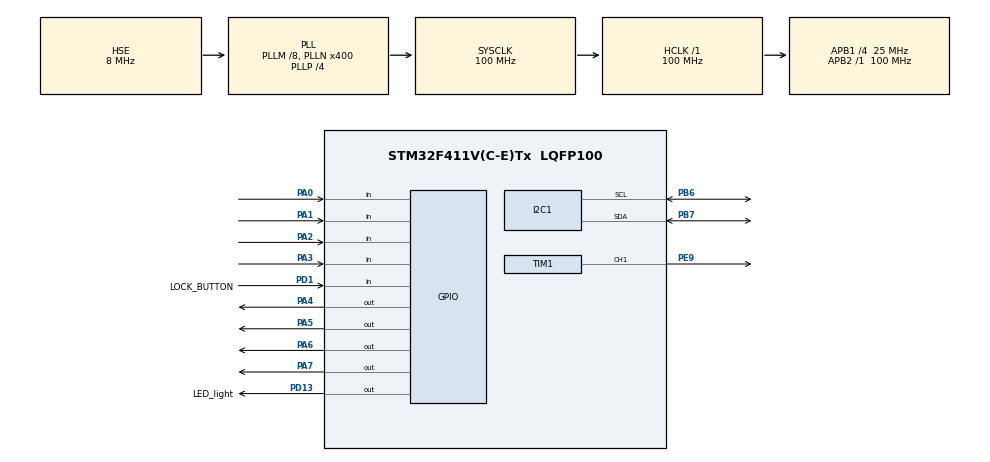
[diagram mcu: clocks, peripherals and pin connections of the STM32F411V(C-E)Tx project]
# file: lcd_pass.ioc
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Mcu.Family=STM32F4
Mcu.Name=STM32F411V(C-E)Tx
Mcu.Package=LQFP100
NVIC.PriorityGroup=NVIC_PRIORITYGROUP_4
NVIC.TIM1_UP_TIM10_IRQn=true\:0\:0\:false\:false\:true\:true\:true\:true
PA0-WKUP.GPIO_PuPd=GPIO_PULLUP
PA0-WKUP.Signal=GPIO_Input
PA1.GPIO_PuPd=GPIO_PULLUP
PA1.Signal=GPIO_Input
PA13.Mode=Serial_Wire
PA13.Signal=SYS_JTMS-SWDIO
PA14.Mode=Serial_Wire
PA14.Signal=SYS_JTCK-SWCLK
PA2.GPIO_PuPd=GPIO_PULLUP
PA2.Signal=GPIO_Input
PA3.GPIO_PuPd=GPIO_PULLUP
PA3.Signal=GPIO_Input
PA4.GPIO_Speed=GPIO_SPEED_FREQ_HIGH
PA4.Signal=GPIO_Output
PA5.GPIO_Speed=GPIO_SPEED_FREQ_HIGH
PA5.Signal=GPIO_Output
PA6.GPIO_Speed=GPIO_SPEED_FREQ_HIGH
PA6.Signal=GPIO_Output
PA7.GPIO_Speed=GPIO_SPEED_FREQ_HIGH
PA7.Signal=GPIO_Output
PB6.Mode=I2C
PB6.Signal=I2C1_SCL
PB7.Mode=I2C
PB7.Signal=I2C1_SDA
PD1.GPIO_Label=LOCK_BUTTON
PD1.GPIO_PuPd=GPIO_PULLDOWN
PD1.Signal=GPIO_Input
PD13.GPIO_Label=LED_light
PD13.GPIO_Speed=GPIO_SPEED_FREQ_HIGH
PD13.Signal=GPIO_Output
PE9.Signal=S_TIM1_CH1
PH0\ -\ OSC_IN.Mode=HSE-External-Oscillator
PH0\ -\ OSC_IN.Signal=RCC_OSC_IN
PH1\ -\ OSC_OUT.Mode=HSE-External-Oscillator
PH1\ -\ OSC_OUT.Signal=RCC_OSC_OUT
ProjectManager.HeapSize=0x200
ProjectManager.StackSize=0x400
ProjectManager.TargetToolchain=MDK-ARM V5.27
RCC.48MHZClocksFreq_Value=100000000
RCC.AHBFreq_Value=100000000
RCC.APB1CLKDivider=RCC_HCLK_DIV4
RCC.APB1Freq_Value=25000000
RCC.APB1TimFreq_Value=50000000
RCC.APB2Freq_Value=100000000
RCC.APB2TimFreq_Value=100000000
RCC.CortexFreq_Value=100000000
RCC.HCLKFreq_Value=100000000
RCC.HSE_VALUE=8000000
RCC.HSI_VALUE=16000000
RCC.LSE_VALUE=32768
RCC.PLLM=8
RCC.PLLN=400
RCC.PLLP=RCC_PLLP_DIV4
RCC.PLLSourceVirtual=RCC_PLLSOURCE_HSE
RCC.SYSCLKFreq_VALUE=100000000
RCC.SYSCLKSource=RCC_SYSCLKSOURCE_PLLCLK
RCC.VCOOutputFreq_Value=400000000
SH.S_TIM1_CH1.0=TIM1_CH1,PWM Generation1 CH1
TIM1.Channel-PWM\ Generation1\ CH1=TIM_CHANNEL_1
TIM1.Period=1000
TIM1.Prescaler=1000
TIM10.Period=9999
TIM10.Prescaler=10000
VP_TIM10_VS_ClockSourceINT.Mode=Enable_Timer
VP_TIM1_VS_ClockSourceINT.Mode=Internal
board=custom

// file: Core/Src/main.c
/* USER CODE BEGIN Header */
/**
  ******************************************************************************
  * @file           : main.c
  * @brief          : Main program body
  ******************************************************************************
  * @attention
  *
  * Copyright (c) 2022 STMicroelectronics.
  * All rights reserved.
  *
  * This software is licensed under terms that can be found in the LICENSE file
  * in the root directory of this software component.
  * If no LICENSE file comes with this software, it is provided AS-IS.
  *
  ******************************************************************************
  */
/* USER CODE END Header */
#include "main.h"

/* USER CODE BEGIN PD */
#define R1_PORT GPIOA
#define R1_PIN GPIO_PIN_7

#define R2_PORT GPIOA
#define R2_PIN GPIO_PIN_6

#define R3_PORT GPIOA
#define R3_PIN GPIO_PIN_5

#define R4_PORT GPIOA
#define R4_PIN GPIO_PIN_4

#define C1_PORT GPIOA
#define C1_PIN GPIO_PIN_3

#define C2_PORT GPIOA
#define C2_PIN GPIO_PIN_2

#define C3_PORT GPIOA
#define C3_PIN GPIO_PIN_1

#define C4_PORT GPIOA
#define C4_PIN GPIO_PIN_0

/* USER CODE END PD */

I2C_HandleTypeDef hi2c1;

TIM_HandleTypeDef htim1;
TIM_HandleTypeDef htim10;

void SystemClock_Config(void);
static void MX_GPIO_Init(void);
static void MX_I2C1_Init(void);
static void MX_TIM1_Init(void);
static void MX_TIM10_Init(void);

/* USER CODE BEGIN 0 */
uint8_t key[16] = ""; //contains 16 character 	//temp array
uint8_t user_pass [16] = "";

int wrongpass_count = 0;
char default_pass[16] = ""; //do linh kien ban phim co van de nen doi mat khau mac dinh sang 012378#, mat khau mac dinh doi lai sau khi thay ban phim 012345678#

void delay_ms(long int time);
void delay_1ms(void);
char read_keypad(void);
void password_enter(uint8_t *arr, int count);
void keypad_password(void);

char read_keypad (void)
{

	/* Make ROW 1 LOW and all other ROWs HIGH */
	HAL_GPIO_WritePin (R1_PORT, R1_PIN, GPIO_PIN_RESET);  //Pull the R1 low
	HAL_GPIO_WritePin (R2_PORT, R2_PIN, GPIO_PIN_SET);  // Pull the R2 High
	HAL_GPIO_WritePin (R3_PORT, R3_PIN, GPIO_PIN_SET);  // Pull the R3 High
	HAL_GPIO_WritePin (R4_PORT, R4_PIN, GPIO_PIN_SET);  // Pull the R4 High

	if (!(HAL_GPIO_ReadPin (C1_PORT, C1_PIN)))   // if the Col 1 is low
	{
		while (!(HAL_GPIO_ReadPin (C1_PORT, C1_PIN)));   // wait till the button is pressed
		return '1';
	}

	if (!(HAL_GPIO_ReadPin (C2_PORT, C2_PIN)))   // if the Col 2 is low
	{
		while (!(HAL_GPIO_ReadPin (C2_PORT, C2_PIN)));   // wait till the button is pressed
		return '2';
	}

	if (!(HAL_GPIO_ReadPin (C3_PORT, C3_PIN)))   // if the Col 3 is low
	{
		while (!(HAL_GPIO_ReadPin (C3_PORT, C3_PIN)));   // wait till the button is pressed
		return '3';
	}

	if (!(HAL_GPIO_ReadPin (C4_PORT, C4_PIN)))   // if the Col 4 is low
	{
		while (!(HAL_GPIO_ReadPin (C4_PORT, C4_PIN)));   // wait till the button is pressed
		return 'A';
	}

	/* Make ROW 2 LOW and all other ROWs HIGH */
	HAL_GPIO_WritePin (R1_PORT, R1_PIN, GPIO_PIN_SET);  //Pull the R1 High
	HAL_GPIO_WritePin (R2_PORT, R2_PIN, GPIO_PIN_RESET);  // Pull the R2 Low
	HAL_GPIO_WritePin (R3_PORT, R3_PIN, GPIO_PIN_SET);  // Pull the R3 High
	HAL_GPIO_WritePin (R4_PORT, R4_PIN, GPIO_PIN_SET);  // Pull the R4 High

	if (!(HAL_GPIO_ReadPin (C1_PORT, C1_PIN)))   // if the Col 1 is low
	{
		while (!(HAL_GPIO_ReadPin (C1_PORT, C1_PIN)));   // wait till the button is pressed
		return '4';
	}

	if (!(HAL_GPIO_ReadPin (C2_PORT, C2_PIN)))   // if the Col 2 is low
	{
		while (!(HAL_GPIO_ReadPin (C2_PORT, C2_PIN)));   // wait till the button is pressed
		return '5';
	}

	if (!(HAL_GPIO_ReadPin (C3_PORT, C3_PIN)))   // if the Col 3 is low
	{
		while (!(HAL_GPIO_ReadPin (C3_PORT, C3_PIN)));   // wait till the button is pressed
		return '6';
	}

	if (!(HAL_GPIO_ReadPin (C4_PORT, C4_PIN)))   // if the Col 4 is low
	{
		while (!(HAL_GPIO_ReadPin (C4_PORT, C4_PIN)));   // wait till the button is pressed
		return 'B';
	}

	/* Make ROW 3 LOW and all other ROWs HIGH */
	HAL_GPIO_WritePin (R1_PORT, R1_PIN, GPIO_PIN_SET);  //Pull the R1 High
	HAL_GPIO_WritePin (R2_PORT, R2_PIN, GPIO_PIN_SET);  // Pull the R2 High
	HAL_GPIO_WritePin (R3_PORT, R3_PIN, GPIO_PIN_RESET);  // Pull the R3 Low
	HAL_GPIO_WritePin (R4_PORT, R4_PIN, GPIO_PIN_SET);  // Pull the R4 High

	if (!(HAL_GPIO_ReadPin (C1_PORT, C1_PIN)))   // if the Col 1 is low
	{
		while (!(HAL_GPIO_ReadPin (C1_PORT, C1_PIN)));   // wait till the button is pressed
		return '7';
	}

	if (!(HAL_GPIO_ReadPin (C2_PORT, C2_PIN)))   // if the Col 2 is low
	{
		while (!(HAL_GPIO_ReadPin (C2_PORT, C2_PIN)));   // wait till the button is pressed
		return '8';
	}

	if (!(HAL_GPIO_ReadPin (C3_PORT, C3_PIN)))   // if the Col 3 is low
	{
		while (!(HAL_GPIO_ReadPin (C3_PORT, C3_PIN)));   // wait till the button is pressed
		return '9';
	}

	if (!(HAL_GPIO_ReadPin (C4_PORT, C4_PIN)))   // if the Col 4 is low
	{
		while (!(HAL_GPIO_ReadPin (C4_PORT, C4_PIN)));   // wait till the button is pressed
		return 'C';
	}

	/* Make ROW 4 LOW and all other ROWs HIGH */
	HAL_GPIO_WritePin (R1_PORT, R1_PIN, GPIO_PIN_SET);  //Pull the R1 High
	HAL_GPIO_WritePin (R2_PORT, R2_PIN, GPIO_PIN_SET);  // Pull the R2 High
	HAL_GPIO_WritePin (R3_PORT, R3_PIN, GPIO_PIN_SET);  // Pull the R3 Low
	HAL_GPIO_WritePin (R4_PORT, R4_PIN, GPIO_PIN_RESET);  // Pull the R4 High

	if (!(HAL_GPIO_ReadPin (C1_PORT, C1_PIN)))   // if the Col 1 is low
	{
		while (!(HAL_GPIO_ReadPin (C1_PORT, C1_PIN)));   // wait till the button is pressed
		return '*';
	}

	if (!(HAL_GPIO_ReadPin (C2_PORT, C2_PIN)))   // if the Col 2 is low
	{
		while (!(HAL_GPIO_ReadPin (C2_PORT, C2_PIN)));   // wait till the button is pressed
		return '0';
	}

	if (!(HAL_GPIO_ReadPin (C3_PORT, C3_PIN)))   // if the Col 3 is low
	{
		while (!(HAL_GPIO_ReadPin (C3_PORT, C3_PIN)));   // wait till the button is pressed
		return '#';
	}

	if (!(HAL_GPIO_ReadPin (C4_PORT, C4_PIN)))   // if the Col 4 is low
	{
		while (!(HAL_GPIO_ReadPin (C4_PORT, C4_PIN)));   // wait till the button is pressed
		return 'D';
	}
}

void password_enter(uint8_t *arr,int count)
{
			int i = 0;
			//key[i] la mang giup de xac thuc mat khau luon
			while(i<count)
			{
				key[i] = read_keypad();

				if(key[i]=='#')
				{
					break;
				}

				if(key[i] != 0x01)
				{
					lcd_put_cur(1,i);
					lcd_send_data(key[i]);
					++i;
				}
				HAL_Delay(100);
		}
}

void keypad_password(void)
{
		lcd_clear();
				lcd_put_cur(0,0);
				lcd_send_string("ENTER PASSWORD: ");

				password_enter(key,16);

				memcpy(user_pass,key,sizeof(key));

				memset(key,0,sizeof(key));

				if(strncmp((const char*)user_pass,(const char*)default_pass,16)==0)
				{
					//dung mat khau thi minh se mo den bang chan PD13
					//dong thoi hien thi -- UNLOCKED -- roi giu cho den khi nao nut bam duoc cai dat muc dich de kich tin hieu khoa cua thi
					//tat den roi khoa cua roi quay ve man hinh che do mac dinh
					lcd_clear();
					lcd_put_cur(0,4);
					lcd_send_string("CORRECT!");
					lcd_put_cur(1,0);
					lcd_send_string("--- UNLOCKED ---");
					wrongpass_count = 0;
					//open door
					htim1.Instance->CCR1 = 75; //quay 180 do

					//turn on LED
					HAL_GPIO_WritePin(GPIOD, GPIO_PIN_13,GPIO_PIN_SET);

					while(1)
					{
						//do xong roi no cu chay xu ly trong vong lap nay mai thoi
						//cho den khi nhan thay tin hieu tu nut bam thi tat den khoa cua roi break vong lap out ra ngoai vo man hinh mac dinh
						if(HAL_GPIO_ReadPin(GPIOD, GPIO_PIN_1) == GPIO_PIN_SET)
						{
							//tat den
							HAL_GPIO_WritePin(GPIOD, GPIO_PIN_13,GPIO_PIN_RESET);
							//doi 3s roi khoa cua lai
							//delay_ms(3000);

							//close door
							htim1.Instance->CCR1 = 175; //quay 180 do

							lcd_clear();
							lcd_put_cur(0,2);
							lcd_send_string("GOOD BYE ^-^");
							lcd_put_cur(1,1);
							lcd_send_string("SEE YOU AGAIN");

							HAL_Delay(1200);
							break;
						}
						else
						{
							//do nothing, just wait
						}
					}
				} else //truong hop nhap sai mk
				{

					++wrongpass_count;
					lcd_clear();
					lcd_put_cur(0,1);
					lcd_send_string("ACCESS DENIED!");
					lcd_put_cur(1,0);
					lcd_send_string("PLEASE TRY AGAIN");

					if(wrongpass_count == 5)
					{
						HAL_Delay(1000);
						lcd_clear();
						lcd_put_cur(0,0);
						lcd_send_string("NHAP SAI > 5 LAN");
						lcd_put_cur(1,0);
						lcd_send_string("WAIT FOR 3 MINS");

						//actually we make 3 mins to simulate
						delay_ms(180000);
						wrongpass_count = 0;
					}
				}
}
/* USER CODE END 0 */

int main(void)
{

  /* MCU Configuration--------------------------------------------------------*/

  /* Reset of all peripherals, Initializes the Flash interface and the Systick. */
  HAL_Init();

  /* Configure the system clock */
  SystemClock_Config();

  /* Initialize all configured peripherals */
  MX_GPIO_Init();
  MX_I2C1_Init();
  MX_TIM1_Init();
  MX_TIM10_Init();
  /* USER CODE BEGIN 2 */

	HAL_TIM_Base_Start_IT(&htim10);
	HAL_TIM_PWM_Start(&htim1, TIM_CHANNEL_1);

		lcd_clear();
		lcd_put_cur(0,0);
		lcd_send_string("WELCOME TO UIT");
		lcd_put_cur(1,2);
		lcd_send_string("CE FACULTY ^-^");
		HAL_Delay(2000);

		lcd_clear();
		lcd_put_cur(0,0);
		lcd_send_string("CAI MATKHAU: ");

		lcd_put_cur(1,0);
			//can mot vong lap loop neu nhu nhap sai mat khau mac dinh thi loop ke tu luc moi khoi dong
			//neu nhu cho lau qua ma khong xac nhan doi mat khau thi comeback man hinh luc ban dau
		memset(key,0,sizeof(key));

		password_enter(key,16);

			//done nhap mat khau duoc cai vo mang mat khau mac dinh de luu tru

		memcpy(default_pass,key,sizeof(key));

		memset(key,0, sizeof(key)); //clear key temp pass array

	 /* USER CODE END WHILE */
			//Mo ta dac tinh chuc nang o khoa thong minh

		//CHE DO:
		//*: PASSWORD
		//**: RFID
		//***: DOI MK
		//MINH SE LAM MOT CAI BAN TUTORIAL NHO NHO CODE WEB GIOI THIEU CHO NGUOI DUNG CHANG HAN XD host tren github

			/*=lcd_clear();
			lcd_put_cur(0,1);
			lcd_send_string("***WELCOME***");

			lcd_put_cur(1,0);
			lcd_send_string("MODE: ");

			int j = 0;
			int position = 5;
			//chon che do

			while(j<4)
			{
				key[j] = read_keypad();

				if(key[j]=='#')
				{
					break;
				}

				if(key[j] != 0x01)
				{
					lcd_put_cur(1,position);
					lcd_send_data(key[j]);
					++j;
					++position;
				}
				HAL_Delay(100);
		}

		memcpy(mode, key, sizeof(key));

		memset(key, 0, sizeof(key)); //clear key

		*/

		//MODE *: PASSWORD

		//if(strncmp((const char*) mode,"*#",2) == 0)
		//{
			//while(1)
			//{

			//}
  /* USER CODE END 2 */

  /* Infinite loop */
  while (1)
  {
		HAL_Delay(1200);
		keypad_password();
  }
}

void SystemClock_Config(void)
{
  RCC_OscInitTypeDef RCC_OscInitStruct = {0};
  RCC_ClkInitTypeDef RCC_ClkInitStruct = {0};

  /** Configure the main internal regulator output voltage
  */
  __HAL_RCC_PWR_CLK_ENABLE();
  __HAL_PWR_VOLTAGESCALING_CONFIG(PWR_REGULATOR_VOLTAGE_SCALE1);

  /** Initializes the RCC Oscillators according to the specified parameters
  * in the RCC_OscInitTypeDef structure.
  */
  RCC_OscInitStruct.OscillatorType = RCC_OSCILLATORTYPE_HSE;
  RCC_OscInitStruct.HSEState = RCC_HSE_ON;
  RCC_OscInitStruct.PLL.PLLState = RCC_PLL_ON;
  RCC_OscInitStruct.PLL.PLLSource = RCC_PLLSOURCE_HSE;
  RCC_OscInitStruct.PLL.PLLM = 8;
  RCC_OscInitStruct.PLL.PLLN = 400;
  RCC_OscInitStruct.PLL.PLLP = RCC_PLLP_DIV4;
  RCC_OscInitStruct.PLL.PLLQ = 4;
  if (HAL_RCC_OscConfig(&RCC_OscInitStruct) != HAL_OK)
  {
    Error_Handler();
  }

  /** Initializes the CPU, AHB and APB buses clocks
  */
  RCC_ClkInitStruct.ClockType = RCC_CLOCKTYPE_HCLK|RCC_CLOCKTYPE_SYSCLK
                              |RCC_CLOCKTYPE_PCLK1|RCC_CLOCKTYPE_PCLK2;
  RCC_ClkInitStruct.SYSCLKSource = RCC_SYSCLKSOURCE_PLLCLK;
  RCC_ClkInitStruct.AHBCLKDivider = RCC_SYSCLK_DIV1;
  RCC_ClkInitStruct.APB1CLKDivider = RCC_HCLK_DIV4;
  RCC_ClkInitStruct.APB2CLKDivider = RCC_HCLK_DIV1;

  if (HAL_RCC_ClockConfig(&RCC_ClkInitStruct, FLASH_LATENCY_3) != HAL_OK)
  {
    Error_Handler();
  }
}

static void MX_I2C1_Init(void)
{

  hi2c1.Instance = I2C1;
  hi2c1.Init.ClockSpeed = 100000;
  hi2c1.Init.DutyCycle = I2C_DUTYCYCLE_2;
  hi2c1.Init.OwnAddress1 = 0;
  hi2c1.Init.AddressingMode = I2C_ADDRESSINGMODE_7BIT;
  hi2c1.Init.DualAddressMode = I2C_DUALADDRESS_DISABLE;
  hi2c1.Init.OwnAddress2 = 0;
  hi2c1.Init.GeneralCallMode = I2C_GENERALCALL_DISABLE;
  hi2c1.Init.NoStretchMode = I2C_NOSTRETCH_DISABLE;
  if (HAL_I2C_Init(&hi2c1) != HAL_OK)
  {
    Error_Handler();
  }

}

static void MX_TIM1_Init(void)
{

  TIM_ClockConfigTypeDef sClockSourceConfig = {0};
  TIM_MasterConfigTypeDef sMasterConfig = {0};
  TIM_OC_InitTypeDef sConfigOC = {0};
  TIM_BreakDeadTimeConfigTypeDef sBreakDeadTimeConfig = {0};

  htim1.Instance = TIM1;
  htim1.Init.Prescaler = 1000;
  htim1.Init.CounterMode = TIM_COUNTERMODE_UP;
  htim1.Init.Period = 1000;
  htim1.Init.ClockDivision = TIM_CLOCKDIVISION_DIV1;
  htim1.Init.RepetitionCounter = 0;
  htim1.Init.AutoReloadPreload = TIM_AUTORELOAD_PRELOAD_DISABLE;
  if (HAL_TIM_Base_Init(&htim1) != HAL_OK)
  {
    Error_Handler();
  }
  sClockSourceConfig.ClockSource = TIM_CLOCKSOURCE_INTERNAL;
  if (HAL_TIM_ConfigClockSource(&htim1, &sClockSourceConfig) != HAL_OK)
  {
    Error_Handler();
  }
  if (HAL_TIM_PWM_Init(&htim1) != HAL_OK)
  {
    Error_Handler();
  }
  sMasterConfig.MasterOutputTrigger = TIM_TRGO_RESET;
  sMasterConfig.MasterSlaveMode = TIM_MASTERSLAVEMODE_DISABLE;
  if (HAL_TIMEx_MasterConfigSynchronization(&htim1, &sMasterConfig) != HAL_OK)
  {
    Error_Handler();
  }
  sConfigOC.OCMode = TIM_OCMODE_PWM1;
  sConfigOC.Pulse = 0;
  sConfigOC.OCPolarity = TIM_OCPOLARITY_HIGH;
  sConfigOC.OCNPolarity = TIM_OCNPOLARITY_HIGH;
  sConfigOC.OCFastMode = TIM_OCFAST_DISABLE;
  sConfigOC.OCIdleState = TIM_OCIDLESTATE_RESET;
  sConfigOC.OCNIdleState = TIM_OCNIDLESTATE_RESET;
  if (HAL_TIM_PWM_ConfigChannel(&htim1, &sConfigOC, TIM_CHANNEL_1) != HAL_OK)
  {
    Error_Handler();
  }
  sBreakDeadTimeConfig.OffStateRunMode = TIM_OSSR_DISABLE;
  sBreakDeadTimeConfig.OffStateIDLEMode = TIM_OSSI_DISABLE;
  sBreakDeadTimeConfig.LockLevel = TIM_LOCKLEVEL_OFF;
  sBreakDeadTimeConfig.DeadTime = 0;
  sBreakDeadTimeConfig.BreakState = TIM_BREAK_DISABLE;
  sBreakDeadTimeConfig.BreakPolarity = TIM_BREAKPOLARITY_HIGH;
  sBreakDeadTimeConfig.AutomaticOutput = TIM_AUTOMATICOUTPUT_DISABLE;
  if (HAL_TIMEx_ConfigBreakDeadTime(&htim1, &sBreakDeadTimeConfig) != HAL_OK)
  {
    Error_Handler();
  }
  HAL_TIM_MspPostInit(&htim1);

}

static void MX_TIM10_Init(void)
{

  htim10.Instance = TIM10;
  htim10.Init.Prescaler = 10000;
  htim10.Init.CounterMode = TIM_COUNTERMODE_UP;
  htim10.Init.Period = 9999;
  htim10.Init.ClockDivision = TIM_CLOCKDIVISION_DIV1;
  htim10.Init.AutoReloadPreload = TIM_AUTORELOAD_PRELOAD_DISABLE;
  if (HAL_TIM_Base_Init(&htim10) != HAL_OK)
  {
    Error_Handler();
  }

}

static void MX_GPIO_Init(void)
{
  GPIO_InitTypeDef GPIO_InitStruct = {0};

  /* GPIO Ports Clock Enable */
  __HAL_RCC_GPIOH_CLK_ENABLE();
  __HAL_RCC_GPIOA_CLK_ENABLE();
  __HAL_RCC_GPIOE_CLK_ENABLE();
  __HAL_RCC_GPIOD_CLK_ENABLE();
  __HAL_RCC_GPIOB_CLK_ENABLE();

  /*Configure GPIO pin Output Level */
  HAL_GPIO_WritePin(GPIOA, GPIO_PIN_4|GPIO_PIN_5|GPIO_PIN_6|GPIO_PIN_7, GPIO_PIN_RESET);

  /*Configure GPIO pin Output Level */
  HAL_GPIO_WritePin(LED_light_GPIO_Port, LED_light_Pin, GPIO_PIN_RESET);

  /*Configure GPIO pins : PA0 PA1 PA2 PA3 */
  GPIO_InitStruct.Pin = GPIO_PIN_0|GPIO_PIN_1|GPIO_PIN_2|GPIO_PIN_3;
  GPIO_InitStruct.Mode = GPIO_MODE_INPUT;
  GPIO_InitStruct.Pull = GPIO_PULLUP;
  HAL_GPIO_Init(GPIOA, &GPIO_InitStruct);

  /*Configure GPIO pins : PA4 PA5 PA6 PA7 */
  GPIO_InitStruct.Pin = GPIO_PIN_4|GPIO_PIN_5|GPIO_PIN_6|GPIO_PIN_7;
  GPIO_InitStruct.Mode = GPIO_MODE_OUTPUT_PP;
  GPIO_InitStruct.Pull = GPIO_NOPULL;
  GPIO_InitStruct.Speed = GPIO_SPEED_FREQ_HIGH;
  HAL_GPIO_Init(GPIOA, &GPIO_InitStruct);

  /*Configure GPIO pin : LED_light_Pin */
  GPIO_InitStruct.Pin = LED_light_Pin;
  GPIO_InitStruct.Mode = GPIO_MODE_OUTPUT_PP;
  GPIO_InitStruct.Pull = GPIO_NOPULL;
  GPIO_InitStruct.Speed = GPIO_SPEED_FREQ_HIGH;
  HAL_GPIO_Init(LED_light_GPIO_Port, &GPIO_InitStruct);

  /*Configure GPIO pin : LOCK_BUTTON_Pin */
  GPIO_InitStruct.Pin = LOCK_BUTTON_Pin;
  GPIO_InitStruct.Mode = GPIO_MODE_INPUT;
  GPIO_InitStruct.Pull = GPIO_PULLDOWN;
  HAL_GPIO_Init(LOCK_BUTTON_GPIO_Port, &GPIO_InitStruct);

}

/* USER CODE BEGIN 4 */
void delay_1ms(void)
{
 __HAL_TIM_SetCounter(&htim10, 0);
 while (__HAL_TIM_GetCounter(&htim10)<10);
}

void delay_ms(long int time)
{
 long int i = 0;
 for(i = 0; i < time; i++)
 {
   delay_1ms();
 }

}
/* USER CODE END 4 */

void Error_Handler(void)
{
  __disable_irq();
  while (1)
  {
  }
}
